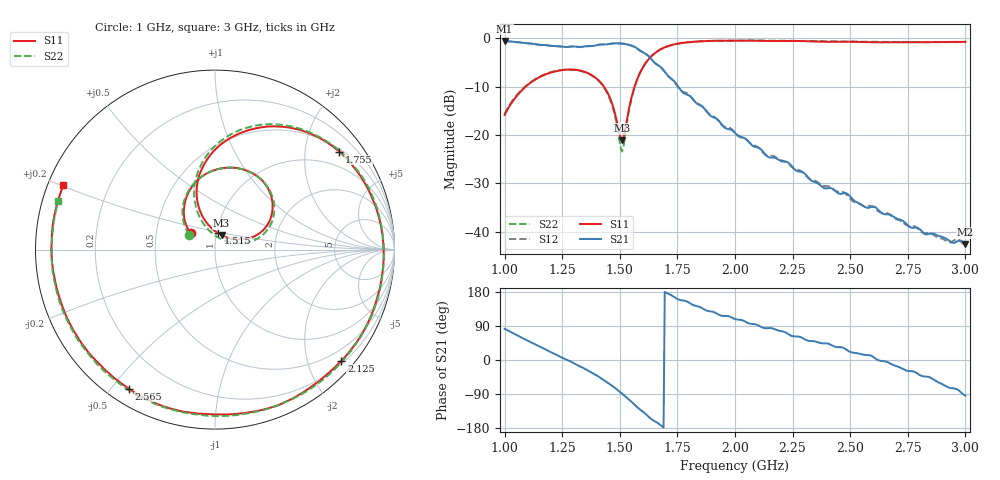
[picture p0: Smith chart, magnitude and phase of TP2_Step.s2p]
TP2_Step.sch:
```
<Qucs Schematic 0.0.19>
<Properties>
  <View=0,31,1400,937,0.751315,0,0>
  <Grid=10,10,1>
  <DataSet=TP2_Step.dat>
  <DataDisplay=TP2_Step.dpl>
  <OpenDisplay=1>
  <Script=TP2_Step.m>
  <RunScript=0>
  <showFrame=0>
  <FrameText0=Titre>
  <FrameText1=Auteur :>
  <FrameText2=Date :>
  <FrameText3=Version :>
</Properties>
<Symbol>
</Symbol>
<Components>
  <GND * 1 220 400 0 0 0 3>
  <MLIN MS1 1 360 400 -26 15 0 0 "Subst1" 1 "2.78601 mm" 1 "21.7317 mm" 1 "Hammerstad" 0 "Kirschning" 0 "26.85" 0>
  <GND * 1 1280 400 0 0 0 1>
  <MLIN MS7 1 1140 400 -26 15 0 0 "Subst1" 1 "2.78601 mm" 1 "21.7317 mm" 1 "Hammerstad" 0 "Kirschning" 0 "26.85" 0>
  <MLIN MS6 1 1010 400 -26 15 0 0 "Subst1" 1 "23.5963 mm" 1 "4.242 mm" 1 "Hammerstad" 0 "Kirschning" 0 "26.85" 0>
  <MLIN MS3 1 620 400 -26 15 0 0 "Subst1" 1 "0.670928 mm" 1 "9.386 mm" 1 "Hammerstad" 0 "Kirschning" 0 "26.85" 0>
  <MLIN MS5 1 880 400 -26 15 0 0 "Subst1" 1 "0.670928 mm" 1 "9.386 mm" 1 "Hammerstad" 0 "Kirschning" 0 "26.85" 0>
  <MLIN MS4 1 750 400 -26 15 0 0 "Subst1" 1 "23.5963 mm" 1 "6.338 mm" 1 "Hammerstad" 0 "Kirschning" 0 "26.85" 0>
  <MLIN MS2 1 490 400 -26 15 0 0 "Subst1" 1 "23.5963 mm" 1 "4.242 mm" 1 "Hammerstad" 0 "Kirschning" 0 "26.85" 0>
  <Pac P1 1 250 400 -26 -87 1 0 "1" 1 "50 Ohm" 1 "0 dBm" 0 "1 GHz" 0 "26.85" 0>
  <Pac P2 1 1250 400 -26 -87 0 2 "2" 1 "50 Ohm" 1 "0 dBm" 0 "1 GHz" 0 "26.85" 0>
  <SUBST Subst1 1 440 160 -30 24 0 0 "4.7" 1 "1.55 mm" 1 "35 um" 1 "0.014" 1 "16.78e-9" 1 "0.15e-6" 1>
  <GND * 1 220 680 0 0 0 3>
  <MLIN MS8 1 360 680 -26 15 0 0 "Subst1" 1 "2.78601 mm" 1 "21.7317 mm" 1 "Hammerstad" 0 "Kirschning" 0 "26.85" 0>
  <GND * 1 1340 680 0 0 0 1>
  <MLIN MS14 1 1200 680 -26 15 0 0 "Subst1" 1 "2.78601 mm" 1 "21.7317 mm" 1 "Hammerstad" 0 "Kirschning" 0 "26.85" 0>
  <Pac P3 1 250 680 -26 -87 1 0 "3" 1 "50 Ohm" 1 "0 dBm" 0 "1 GHz" 0 "26.85" 0>
  <Pac P4 1 1310 680 -26 -87 0 2 "4" 1 "50 Ohm" 1 "0 dBm" 0 "1 GHz" 0 "26.85" 0>
  <MSTEP MS15 1 430 680 -26 -109 0 2 "Subst1" 1 "23.5963 mm" 1 "2.78601 mm" 1 "Hammerstad" 0 "Kirschning" 0>
  <MSTEP MS120 1 1130 680 -26 -109 1 0 "Subst1" 1 "23.5963 mm" 1 "2.78601 mm" 1 "Hammerstad" 0 "Kirschning" 0>
  <MLIN MS9 1 500 680 -26 15 0 0 "Subst1" 1 "23.5963 mm" 1 "4.242 mm" 1 "Hammerstad" 0 "Kirschning" 0 "26.85" 0>
  <MLIN MS13 1 1060 680 -26 15 0 0 "Subst1" 1 "23.5963 mm" 1 "4.242 mm" 1 "Hammerstad" 0 "Kirschning" 0 "26.85" 0>
  <MSTEP MS19 1 990 680 -26 -109 0 2 "Subst1" 1 "23.5963 mm" 1 "0.670928 mm" 1 "Hammerstad" 0 "Kirschning" 0>
  <MSTEP MS16 1 570 680 -26 -109 1 0 "Subst1" 1 "23.5963 mm" 1 "0.670928 mm" 1 "Hammerstad" 0 "Kirschning" 0>
  <MLIN MS10 1 640 680 -26 15 0 0 "Subst1" 1 "0.670928 mm" 1 "9.386 mm" 1 "Hammerstad" 0 "Kirschning" 0 "26.85" 0>
  <MLIN MS12 1 920 680 -26 15 0 0 "Subst1" 1 "0.670928 mm" 1 "9.386 mm" 1 "Hammerstad" 0 "Kirschning" 0 "26.85" 0>
  <MLIN MS11 1 780 680 -26 15 0 0 "Subst1" 1 "23.5963 mm" 1 "6.338 mm" 1 "Hammerstad" 0 "Kirschning" 0 "26.85" 0>
  <MSTEP MS17 1 710 680 -26 -109 0 2 "Subst1" 1 "23.5963 mm" 1 "0.670928 mm" 1 "Hammerstad" 0 "Kirschning" 0>
  <MSTEP MS18 1 850 680 -26 -109 1 0 "Subst1" 1 "23.5963 mm" 1 "0.670928 mm" 1 "Hammerstad" 0 "Kirschning" 0>
  <.SP SP1 1 550 120 0 83 0 0 "log" 1 "100 MHz" 1 "3 GHz" 1 "800" 1 "no" 0 "1" 0 "2" 0 "no" 0 "no" 0>
  <Eqn Eqn1 1 720 230 -31 19 0 0 "dBS11_MLIN=dB(S[1,1])" 1 "dBS21_MLIN=dB(S[2,1])" 1 "yes" 0>
  <Eqn Eqn2 1 920 230 -28 15 0 0 "dBS21_MSTEP=dB(S[4,3])" 1 "dBS11_MSTEP=dB(S[3,3])" 1 "yes" 0>
</Components>
<Wires>
  <280 400 330 400 "" 0 0 0 "">
  <390 400 460 400 "" 0 0 0 "">
  <520 400 590 400 "" 0 0 0 "">
  <650 400 720 400 "" 0 0 0 "">
  <780 400 850 400 "" 0 0 0 "">
  <910 400 980 400 "" 0 0 0 "">
  <1040 400 1110 400 "" 0 0 0 "">
  <1170 400 1220 400 "" 0 0 0 "">
  <280 680 330 680 "" 0 0 0 "">
  <1230 680 1280 680 "" 0 0 0 "">
  <390 680 400 680 "" 0 0 0 "">
  <460 680 470 680 "" 0 0 0 "">
  <670 680 680 680 "" 0 0 0 "">
  <740 680 750 680 "" 0 0 0 "">
  <880 680 890 680 "" 0 0 0 "">
  <810 680 820 680 "" 0 0 0 "">
  <950 680 960 680 "" 0 0 0 "">
  <600 680 610 680 "" 0 0 0 "">
  <530 680 540 680 "" 0 0 0 "">
  <1020 680 1030 680 "" 0 0 0 "">
  <1160 680 1170 680 "" 0 0 0 "">
  <1090 680 1100 680 "" 0 0 0 "">
</Wires>
<Diagrams>
</Diagrams>
<Paintings>
</Paintings>
```
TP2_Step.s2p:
! ZVRE, 3.52
! symbol freq-unit parameter-type data-format keyword impedance-ohm
#  HZ  S  RI  R  50
! freq  reS11  imS11  reS21  imS21  reS12  imS12  reS22  imS22
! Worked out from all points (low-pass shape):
!   401 points, 1 GHz to 3 GHz, reference 50 ohm
!   highest |S21| = -0.58 dB at 1 GHz (marker M1); lowest = -42.6 dB at 3 GHz (marker M2)
!   |S21| within 3 dB of the highest: start of sweep to 1.623 GHz
!   lowest |S11| = -21.1 dB at 1.51 GHz (marker M3), VSWR 1.19, Z = 53.1 + j8.56 ohm
!   |S11| at or under -10 dB: start of sweep to 1.092 GHz; 1.431 GHz to 1.564 GHz (133.5 MHz wide, 8.91 % of centre)
!   |S22| runs from -23.4 to -0.5 dB; largest |S21 - S12| = 0.013
!   S11 on the Smith chart (normalised r, x): 1 GHz: 0.75, +0.14; 1.515 GHz: 1.02, +0.19; 1.755 GHz: 0.57, +2.79; 2.125 GHz: 0.26, -2.63; 2.565 GHz: 0.06, -0.56; 3 GHz: 0.04, +0.20
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1e9  -0.1334 0.0903  0.1238 0.9267  0.1241 0.9252  -0.1422 0.0835
1.29e9  0.2007 0.4298  0.8173 -0.075  0.8157 -0.0741  0.2117 0.4231
1.43e9  0.289 0.1335  0.5192 -0.6876  0.5241 -0.687  0.2929 0.1118
1.51e9  0.0367 0.0799  0.0196 -0.8794  0.0196 -0.8799  0.0288 0.0611
1.515e9  0.0174 0.0908  -0.0207 -0.8769  -0.0197 -0.8773  0.00893 0.0727
1.595e9  -0.0629 0.4702  -0.5047 -0.5225  -0.4974 -0.5273  -0.0793 0.469
1.755e9  0.6936 0.5456  -0.2929 0.109  -0.291 0.098  0.673 0.5668
2e9  0.8942 -0.3013  -0.0326 0.1  -0.0324 0.101  0.9181 -0.2294
2.125e9  0.7038 -0.6196  0.00623 0.0655  0.00464 0.0641  0.7639 -0.5553
2.565e9  -0.4798 -0.7744  0.0175 0.0042  0.0176 0.00464  -0.3782 -0.8391
3e9  -0.8453 0.3572  -0.000489 -0.00742  -0.000394 -0.00709  -0.8728 0.2697
